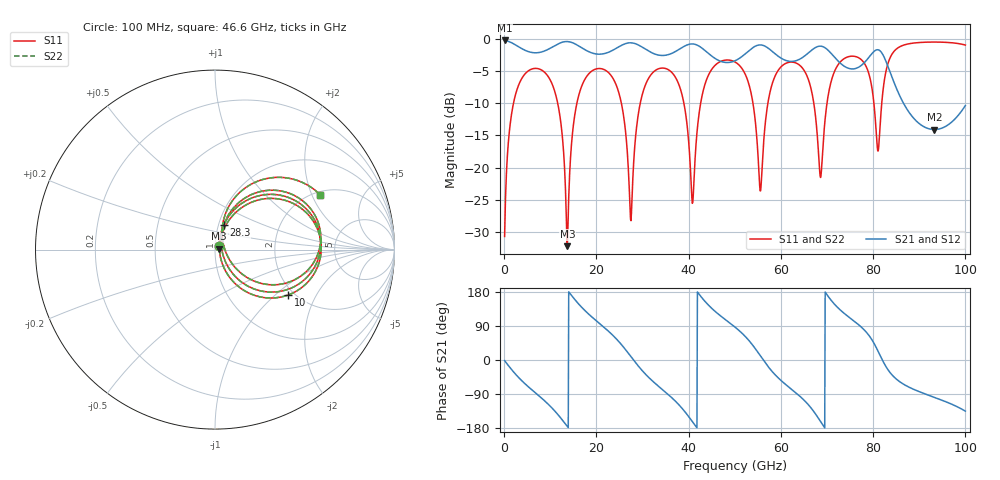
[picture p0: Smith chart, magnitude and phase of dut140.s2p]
! Touchstone file exported from HFSS 2026.1.0
!  File:  C:/ffzhzh/LocalFiles/Ansys_Project_Files/temp_train_TSV_RDL_140_1783642176_26216.aedt
!  Generated:  08:28:16 AM Jul 10, 2026
!  Design:  TSV_RDL
!  Project:  temp_train_TSV_RDL_140_1783642176_26216
! Variables:
!  h_bsmrdl = 3.74um
!  h_ox = 20um
!  h_rdl = 5um
!  h_sub = 73.11um
!  h_tmrdl = 2.47um
!  h_tsv = 73.11um
!  h_via = 3um
!  l_bsmrdl = 658.13um
!  l_sub = 4343.89um
!  l_tmrdl = 460.53um
!  m_sub = 200um
!  pitch = 57.85um
!  r_tsv = 10.31um
!  s_tmrdl = 10um
!  w_bsmrdl = 23.02um
!  w_sub = 500um
!  w_tmrdl = 19.44um
!  x_tsv_center1 = 470.25um
!  x_tsv_center2 = 1151.4um
!  x_tsv_center3 = 1631.37um
!  x_tsv_center4 = 2312.52um
!  x_tsv_center5 = 2792.49um
!  x_tsv_center6 = 3473.64um
# GHz S MA R 50.000000
! Terminal data exported
! Port[1] = TM_RDL1_1_T1
! Port[2] = TM_RDL5_1_T1
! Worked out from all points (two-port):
!   1000 points, 100 MHz to 100 GHz, reference 50 ohm
!   highest |S21| = -0.20 dB at 100 MHz (marker M1); lowest = -14.1 dB at 93.3 GHz (marker M2)
!   |S21| within 3 dB of the highest: start of sweep to 46.19 GHz; 50.51 GHz to 60.67 GHz (10.16 GHz wide, 18.3 % of centre) (the widest 2 of 4)
!   lowest |S11| = -32.2 dB at 13.7 GHz (marker M3), VSWR 1.05, Z = 52.5 + j0.501 ohm
!   |S11| at or under -10 dB: 11.62 GHz to 15.76 GHz (4.146 GHz wide, 30.3 % of centre); 25.42 GHz to 29.5 GHz (4.077 GHz wide, 14.8 % of centre); 38.97 GHz to 42.6 GHz (3.621 GHz wide, 8.88 % of centre) (the widest 3 of 7)
!   |S22| runs from -32.1 to -0.4 dB; largest |S21 - S12| = 4.1e-13
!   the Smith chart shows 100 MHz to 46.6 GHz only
!   S11 on the Smith chart (normalised r, x): 100 MHz: 1.05, +0.04; 10 GHz: 1.86, -1.22; 28.3 GHz: 1.06, +0.29; 46.6 GHz: 2.14, +2.31
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0.1  0.02908 37.4  0.9773 -1.7  0.9773 -1.7  0.02908 37.4
! Gamma 0 0 0 0
! Port Impedance 50 0 50 0
2.9  0.4163 43.3  0.883 -43.2  0.883 -43.2  0.4163 43.3
10  0.4803 -31.7  0.8504 -121.9  0.8504 -121.9  0.4803 -31.7
13.7  0.02442 11.3  0.9581 -175.4  0.9581 -175.4  0.02484 11.1
16.8  0.4295 45.8  0.8575 139.2  0.8575 139.2  0.4295 45.7
23.9  0.4727 -27.2  0.833 61.0  0.833 61.0  0.4727 -27.3
27.4  0.03961 -6.5  0.9372 10.3  0.9372 10.3  0.03877 -7.0
28.3  0.1436 70.1  0.9261 -3.9  0.9261 -3.9  0.1433 70.4
33.4  0.587 19.9  0.7525 -68.7  0.7525 -68.7  0.5869 20.0
40.8  0.05265 9.5  0.9184 -162.4  0.9184 -162.4  0.05332 9.6
46.6  0.6613 27.4  0.6803 119.5  0.6803 119.5  0.6613 27.4
50.1  0.6627 -2.8  0.6801 86.4  0.6801 86.4  0.6627 -2.8
56.3  0.1651 64.7  0.8903 -2.1  0.8903 -2.1  0.1657 64.2
60  0.6074 33.2  0.7128 -53.8  0.7128 -53.8  0.6075 33.1
66.7  0.3872 -29.8  0.8223 -129.0  0.8223 -129.0  0.3871 -29.9
68.6  0.08374 17.4  0.8825 -162.3  0.8825 -162.3  0.08313 17.3
71.8  0.579 48.8  0.7125 144.9  0.7125 144.9  0.5789 48.8
78.3  0.6306 -8.8  0.6687 76.4  0.6687 76.4  0.6306 -8.8
81  0.1348 13.2  0.8275 25.0  0.8275 25.0  0.1348 13.2
83.4  0.6775 49.8  0.5889 -28.9  0.5889 -28.9  0.6774 49.8
93.3  0.9497 -8.9  0.1978 -98.7  0.1978 -98.7  0.9496 -8.9
100  0.8998 -41.1  0.3042 -135.0  0.3042 -135.0  0.8997 -41.1
